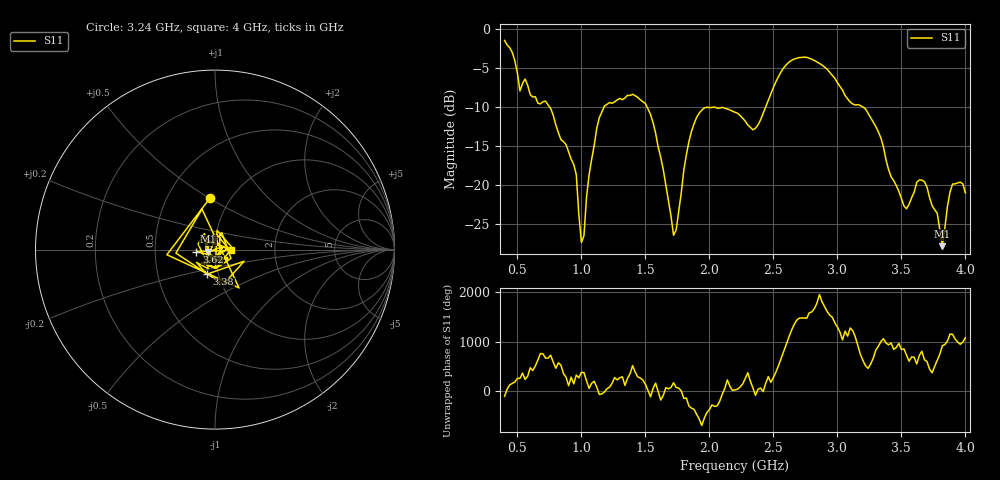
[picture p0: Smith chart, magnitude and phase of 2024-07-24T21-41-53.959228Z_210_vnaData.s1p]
!Created with skrf (http://scikit-rf.org).
# Hz S RI R 50.0
!freq ReS11 ImS11
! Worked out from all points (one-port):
!   181 points, 400 MHz to 4 GHz, reference 50 ohm
!   lowest |S11| = -27.8 dB at 3.82 GHz (marker M1), VSWR 1.08, Z = 46.3 - j1.15 ohm
!   |S11| at or under -10 dB: 750.9 MHz to 1.177 GHz (426 MHz wide, 44.2 % of centre); 1.513 GHz to 2.439 GHz (926.5 MHz wide, 46.9 % of centre); 3.198 GHz to end of sweep
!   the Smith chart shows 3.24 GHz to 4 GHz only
!   S11 on the Smith chart (normalised r, x): 3.24 GHz: 0.80, +0.50; 3.38 GHz: 0.88, -0.25; 3.62 GHz: 0.81, -0.02; 4 GHz: 1.20, -0.00
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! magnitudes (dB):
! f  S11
! 400 MHz  -1.5
! 520 MHz  -8.0
! 720 MHz  -9.3
! 860 MHz  -14.5
! 960 MHz  -18.7
! 1 GHz  -27.4
! 1.06 GHz  -18.7
! 1.14 GHz  -11.4
! 1.3 GHz  -8.9
! 1.5 GHz  -9.6
! 1.58 GHz  -13.4
! 1.72 GHz  -26.4
! 1.76 GHz  -23.4
! 1.82 GHz  -16.1
! 1.9 GHz  -11.3
! 2.2 GHz  -10.7
! 2.36 GHz  -12.7
! 2.66 GHz  -3.9
! 2.9 GHz  -4.9
! 3.1 GHz  -9.4
! 3.24 GHz  -10.8
! 3.38 GHz  -16.8
! 3.56 GHz  -22.5
! 3.62 GHz  -19.7
! 3.7 GHz  -20.3
! 3.82 GHz  -27.8
! 3.9 GHz  -19.9
! 4 GHz  -21.0
